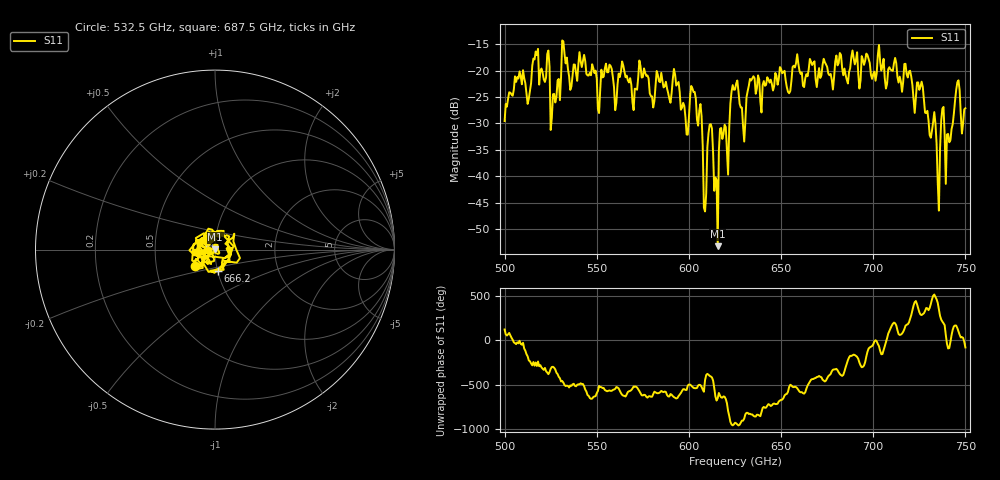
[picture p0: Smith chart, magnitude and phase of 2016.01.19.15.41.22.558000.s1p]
!Created with skrf (http://scikit-rf.org).
# GHz S RI R 50.0
!freq ReS11 ImS11
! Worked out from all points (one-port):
!   401 points, 500 GHz to 750 GHz, reference 50 ohm
!   lowest |S11| = -53.2 dB at 615.6 GHz (marker M1), VSWR 1.00, Z = 50.1 + j0.203 ohm
!   |S11| at or under -10 dB: start of sweep to end of sweep
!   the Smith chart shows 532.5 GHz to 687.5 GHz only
!   S11 on the Smith chart (normalised r, x): 532.5 GHz: 0.78, -0.14; 666.2 GHz: 1.00, -0.24; 687.5 GHz: 0.81, -0.02
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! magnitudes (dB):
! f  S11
! 500 GHz  -29.5
! 506.9 GHz  -21.2
! 513.1 GHz  -25.3
! 516.9 GHz  -16.4
! 526.2 GHz  -24.5
! 531.2 GHz  -14.3
! 532.5 GHz  -16.8
! 550.6 GHz  -27.3
! 562.5 GHz  -21.2
! 593.8 GHz  -22.5
! 598.8 GHz  -32.1
! 602.5 GHz  -24.0
! 606.2 GHz  -26.3
! 608.8 GHz  -46.7
! 611.2 GHz  -30.2
! 614.4 GHz  -40.3
! 615.6 GHz  -53.2
! 625 GHz  -23.6
! 629.4 GHz  -30.5
! 634.4 GHz  -21.5
! 656.2 GHz  -19.3
! 666.2 GHz  -18.3
! 687.5 GHz  -19.5
! 718.8 GHz  -21.3
! 733.1 GHz  -27.9
! 735 GHz  -41.2
! 745.6 GHz  -22.2
! 750 GHz  -27.1
